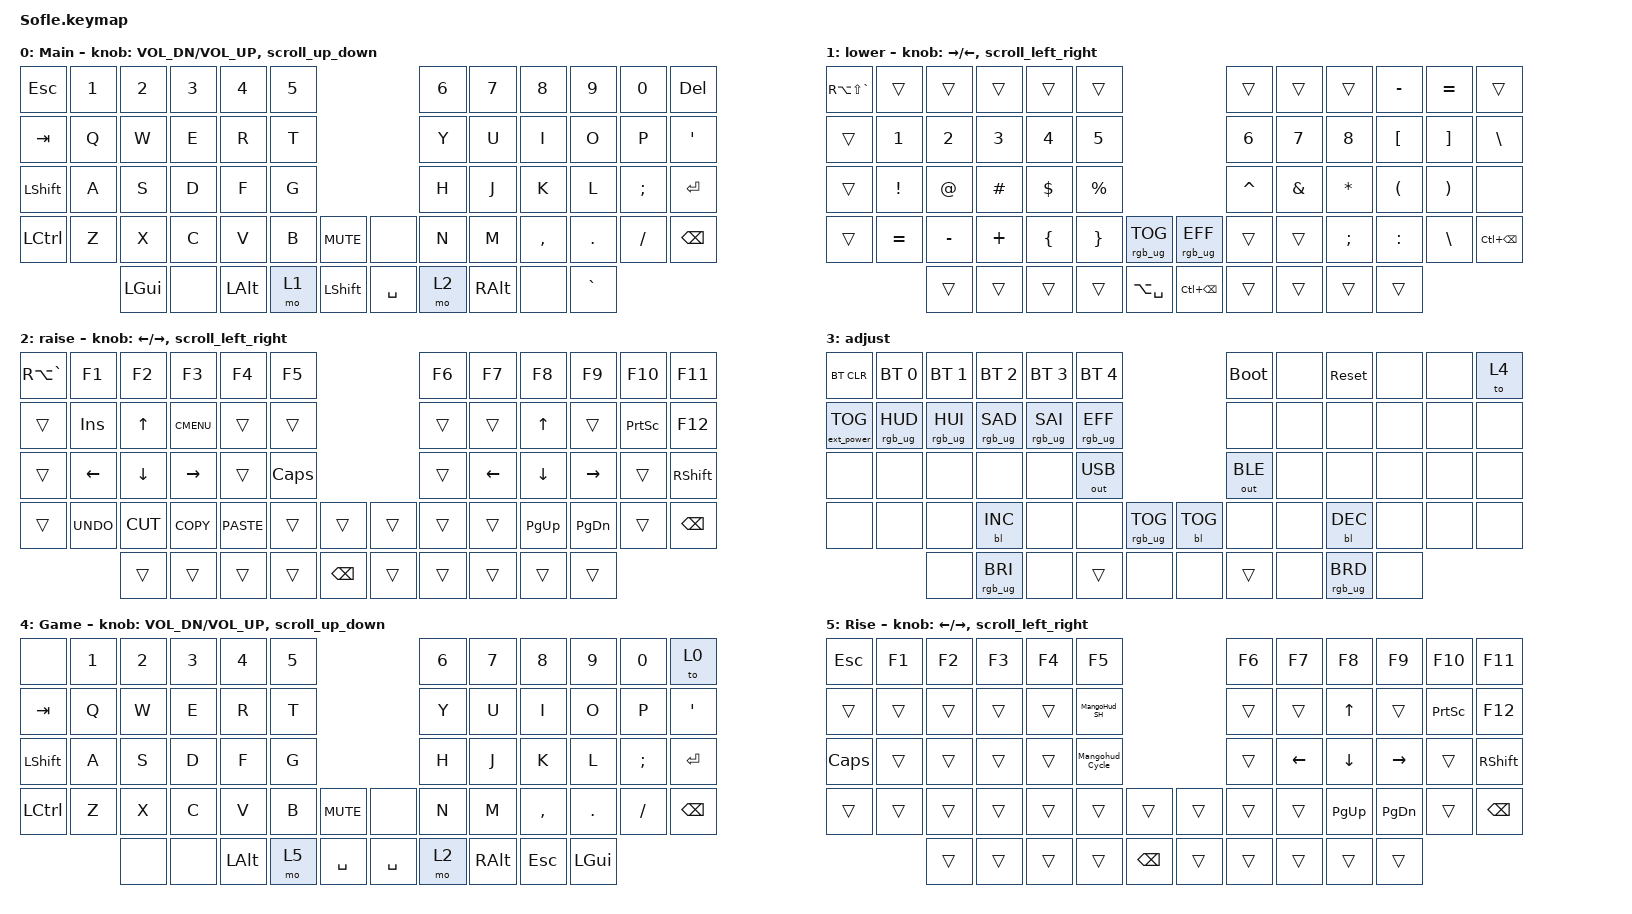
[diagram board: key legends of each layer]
/*
 * Copyright (c) 2020 The ZMK Contributors
 *
 * SPDX-License-Identifier: MIT
 */

#define U_MOUSE_SCROLL_MAX 20
#define ZMK_POINTING_DEFAULT_SCRL_VAL 80 //Scroll max velocity default 10

#include <behaviors.dtsi>
#include <dt-bindings/zmk/backlight.h>
#include <dt-bindings/zmk/bt.h>
#include <dt-bindings/zmk/ext_power.h>
#include <dt-bindings/zmk/keys.h>
#include <dt-bindings/zmk/outputs.h>
#include <dt-bindings/zmk/pointing.h>
#include <dt-bindings/zmk/rgb.h>

#define BASE 0
#define LOWER 1
#define RAISE 2
#define ADJUST 3

/ {
    // Activate ADJUST layer by pressing raise and lower

    conditional_layers {
        compatible = "zmk,conditional-layers";

        adjust_layer {
            if-layers = <2 1>;
            then-layer = <3>;
        };
    };

    behaviors {
        scroll_up_down: scroll_up_down {
            compatible = "zmk,behavior-sensor-rotate";
            #sensor-binding-cells = <0>;
            bindings = <&msc SCRL_UP>, <&msc SCRL_DOWN>;

            tap-ms = <20>;
        };

        scroll_left_right: scroll_left_right {
            compatible = "zmk,behavior-sensor-rotate";
            #sensor-binding-cells = <0>;
            bindings = <&msc SCRL_LEFT>, <&msc SCRL_RIGHT>;

            tap-ms = <20>;
        };
    };

    macros {
        MangoHud_SH: MangoHud {
            compatible = "zmk,behavior-macro";
            #binding-cells = <0>;
            bindings = <&kp RIGHT_SHIFT &kp F12>;
            label = "MANGOHUD";
        };

        Mangohud_Cycle: Mangohud_Cycle {
            compatible = "zmk,behavior-macro";
            #binding-cells = <0>;
            bindings = <&kp RIGHT_SHIFT &kp F11>;
            label = "MANGOHUD_CYCLE";
        };
    };

    keymap {
        compatible = "zmk,keymap";

        Main {
            display-name = "Main";

            // ------------------------------------------------------------------------------------------------------------
            // |   `   |  1  |  2  |  3   |  4   |  5   |                   |  6   |  7    |  8    |  9   |   0   |       |
            // |  ESC  |  Q  |  W  |  E   |  R   |  T   |                   |  Y   |  U    |  I    |  O   |   P   | BKSPC |
            // |  TAB  |  A  |  S  |  D   |  F   |  G   |                   |  H   |  J    |  K    |  L   |   ;   |   '   |
            // | SHIFT |  Z  |  X  |  C   |  V   |  B   |  MUTE  |  |       |  N   |  M    |  ,    |  .   |   /   | SHIFT |
            //               | GUI | ALT  | CTRL | LOWER|  ENTER |  | SPACE | RAISE| CTRL  | ALT   | GUI  |

            bindings = <
&kp ESC         &kp N1  &kp N2    &kp N3  &kp N4    &kp N5                               &kp N6  &kp N7         &kp N8     &kp N9     &kp N0    &kp DELETE
&kp TAB         &kp Q   &kp W     &kp E   &kp R     &kp T                                &kp Y   &kp U          &kp I      &kp O      &kp P     &kp SQT
&kp LEFT_SHIFT  &kp A   &kp S     &kp D   &kp F     &kp G                                &kp H   &kp J          &kp K      &kp L      &kp SEMI  &kp RET
&kp LCTRL       &kp Z   &kp X     &kp C   &kp V     &kp B   &kp C_MUTE        &none      &kp N   &kp M          &kp COMMA  &kp DOT    &kp FSLH  &kp BACKSPACE
                        &kp LGUI  &none   &kp LALT  &mo 1   &kp LEFT_SHIFT    &kp SPACE  &mo 2   &kp RIGHT_ALT  &none      &kp GRAVE
            >;

            sensor-bindings = <&inc_dec_kp C_VOL_DN C_VOL_UP &scroll_up_down>;
        };

        lower_layer {
            display-name = "lower";

            // TODO: Some binds are waiting for shifted keycode support.
            // ------------------------------------------------------------------------------------------------------------
            // |       |  F1 |  F2 |  F3  |  F4  |  F5  |                   |  F6  |  F7   |  F8   |  F9  |  F10  |  F11  |
            // |   `   |  1  |  2  |  3   |  4   |  5   |                   |  6   |  7    |  8    |  9   |   0   |  F12  |
            // |       |  !  |  @  |  #   |  $   |  %   |                   |  ^   |  &    |  *    |  (   |   )   |   |   |
            // |       |  =  |  -  |  +   |  {   |  }   |        |  |       |  [   |  ]    |  ;    |  :   |   \   |       |
            //               |     |      |      |      |        |  |       |      |       |       |      |

            bindings = <
&kp RA(LS(GRAVE))  &trans     &trans     &trans    &trans    &trans                                           &trans     &trans    &trans     &kp MINUS  &kp EQUAL              &trans
&trans             &kp N1     &kp N2     &kp N3    &kp N4    &kp N5                                           &kp N6     &kp N7    &kp N8     &kp LBKT   &kp RBKT               &kp BACKSLASH
&trans             &kp EXCL   &kp AT     &kp HASH  &kp DLLR  &kp PRCNT                                        &kp CARET  &kp AMPS  &kp ASTRK  &kp LPAR   &kp RIGHT_PARENTHESIS  &none
&trans             &kp EQUAL  &kp MINUS  &kp PLUS  &kp LBRC  &kp RBRC   &rgb_ug RGB_TOG    &rgb_ug RGB_EFF    &trans     &trans    &kp SEMI   &kp COLON  &kp BSLH               &kp LC(BACKSPACE)
                              &trans     &trans    &trans    &trans     &kp LA(SPACE)      &kp LC(BACKSPACE)  &trans     &trans    &trans     &trans
            >;

            sensor-bindings =
                <&inc_dec_kp RIGHT LEFT_ARROW>,
                <&scroll_left_right>;
        };

        raise_layer {
            display-name = "raise";

            // ------------------------------------------------------------------------------------------------------------
            // | BTCLR | BT1  | BT2  |  BT3  |  BT4  |  BT5 |                |      |      |       |      |       |       |
            // |       | INS  | PSCR | GUI   |       |      |                | PGUP |      |   ^   |      |       |       |
            // |       | ALT  | CTRL | SHIFT |       | CAPS |                | PGDN |   <- |   v   |  ->  |  DEL  | BKSPC |
            // |       | UNDO | CUT  | COPY  | PASTE |      |      |  |      |      |      |       |      |       |       |
            //                |      |       |       |      |      |  |      |      |      |       |      |

            bindings = <
&kp RA(GRAVE)  &kp F1      &kp F2     &kp F3       &kp F4       &kp F5                             &kp F6  &kp F7    &kp F8       &kp F9         &kp F10    &kp F11
&trans         &kp INS     &kp UP     &kp K_CMENU  &trans       &trans                             &trans  &trans    &kp UP       &trans         &kp PSCRN  &kp F12
&trans         &kp LEFT    &kp DOWN   &kp RIGHT    &trans       &kp CLCK                           &trans  &kp LEFT  &kp DOWN     &kp RIGHT      &trans     &kp RIGHT_SHIFT
&trans         &kp K_UNDO  &kp K_CUT  &kp K_COPY   &kp K_PASTE  &trans    &trans           &trans  &trans  &trans    &kp PAGE_UP  &kp PAGE_DOWN  &trans     &kp BACKSPACE
                           &trans     &trans       &trans       &trans    &kp BACKSPACE    &trans  &trans  &trans    &trans       &trans
            >;

            sensor-bindings =
                <&inc_dec_kp LEFT_ARROW RIGHT_ARROW>,
                <&scroll_left_right>;
        };

        adjust_layer {
            // ----------------------------------------------------------------------------------------------------------------------------
            // | BTCLR  |  BT1    |  BT2    |   BT3   |   BT4   |   BT5   |                  |      |      |       |      |       |       |
            // | EXTPWR | RGB_HUD | RGB_HUI | RGB_SAD | RGB_SAI | RGB_EFF |                  |      |      |       |      |       |       |
            // |        | RGB_BRD | RGB_BRI |         |         |         |                  |      |      |       |      |       |       |
            // |        |         |         |         |         |         | RGB_TOG | |      |      |      |       |      |       |       |
            //                    |         |         |         |         |         | |      |      |      |       |      |

            display-name = "adjust";
            bindings = <
&bt BT_CLR         &bt BT_SEL 0     &bt BT_SEL 1     &bt BT_SEL 2     &bt BT_SEL 3     &bt BT_SEL 4                                    &bootloader   &none  &sys_reset       &none  &none  &to 4
&ext_power EP_TOG  &rgb_ug RGB_HUD  &rgb_ug RGB_HUI  &rgb_ug RGB_SAD  &rgb_ug RGB_SAI  &rgb_ug RGB_EFF                                 &none         &none  &none            &none  &none  &none
&none              &none            &none            &none            &none            &out OUT_USB                                    &out OUT_BLE  &none  &none            &none  &none  &none
&none              &none            &none            &bl BL_INC       &none            &none            &rgb_ug RGB_TOG    &bl BL_TOG  &none         &none  &bl BL_DEC       &none  &none  &none
                                    &none            &rgb_ug RGB_BRI  &none            &trans           &none              &none       &trans        &none  &rgb_ug RGB_BRD  &none
            >;
        };

        Game {
            display-name = "Game";
            bindings = <
&none           &kp N1  &kp N2  &kp N3  &kp N4    &kp N5                           &kp NUMBER_6  &kp N7         &kp N8     &kp N9    &kp N0    &to 0
&kp TAB         &kp Q   &kp W   &kp E   &kp R     &kp T                            &kp Y         &kp U          &kp I      &kp O     &kp P     &kp SQT
&kp LEFT_SHIFT  &kp A   &kp S   &kp D   &kp F     &kp G                            &kp H         &kp J          &kp K      &kp L     &kp SEMI  &kp RET
&kp LCTRL       &kp Z   &kp X   &kp C   &kp V     &kp B   &kp C_MUTE    &none      &kp N         &kp M          &kp COMMA  &kp DOT   &kp FSLH  &kp BACKSPACE
                        &none   &none   &kp LALT  &mo 5   &kp SPACE     &kp SPACE  &mo 2         &kp RIGHT_ALT  &kp ESC    &kp LGUI
            >;

            sensor-bindings = <&inc_dec_kp C_VOL_DN C_VOL_UP &scroll_up_down>;
        };

        Game_Raise {
            display-name = "Rise";
            bindings = <
&kp ESCAPE    &kp F1  &kp F2  &kp F3  &kp F4  &kp F5                                    &kp F6  &kp F7    &kp F8       &kp F9         &kp F10    &kp F11
&trans        &trans  &trans  &trans  &trans  &MangoHud_SH                              &trans  &trans    &kp UP       &trans         &kp PSCRN  &kp F12
&kp CAPSLOCK  &trans  &trans  &trans  &trans  &Mangohud_Cycle                           &trans  &kp LEFT  &kp DOWN     &kp RIGHT      &trans     &kp RIGHT_SHIFT
&trans        &trans  &trans  &trans  &trans  &trans           &trans           &trans  &trans  &trans    &kp PAGE_UP  &kp PAGE_DOWN  &trans     &kp BACKSPACE
                      &trans  &trans  &trans  &trans           &kp BACKSPACE    &trans  &trans  &trans    &trans       &trans
            >;

            sensor-bindings =
                <&inc_dec_kp LEFT_ARROW RIGHT_ARROW>,
                <&scroll_left_right>;
        };
    };
};
